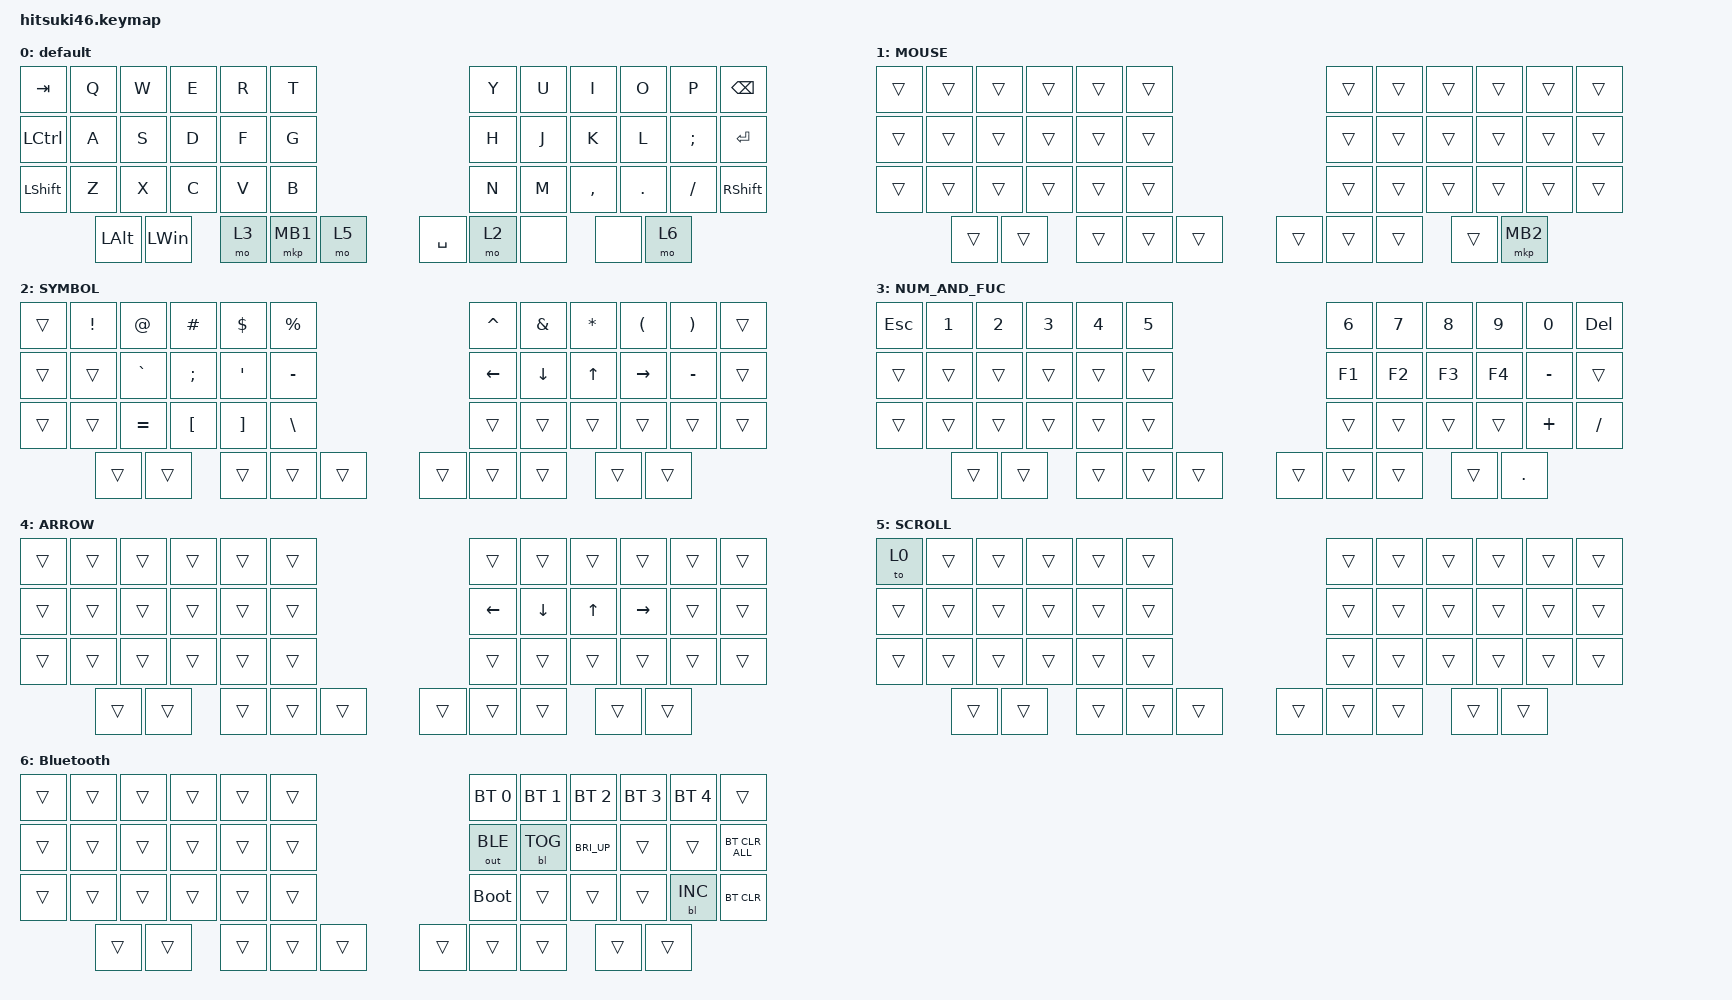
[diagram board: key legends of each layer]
#include <behaviors.dtsi>
#include <dt-bindings/zmk/backlight.h>
#include <dt-bindings/zmk/bt.h>
#include <dt-bindings/zmk/keys.h>
#include <dt-bindings/zmk/outputs.h>
#include <dt-bindings/zmk/pointing.h>

&mt {
    flavor = "balanced";
    quick-tap-ms = <0>;
};

&lt {
    flavor = "balanced";
    quick-tap-ms = <175>;
    require-prior-idle-ms = <150>;
};

// &trackball {
//     // Note: automouse-layer and scroll-layers are no longer supported in badjeff/zmk-pmw3610-driver
//     // These features should now be configured using layer-based zmk,input-listener in keymap
//     // automouse-layer = <1>;
//     // scroll-layers = <5>;
// };

/ {
    combos {
        compatible = "zmk,combos";

        tab {
            bindings = <&kp TAB>;
            key-positions = <11 12>;
        };

        shift_tab {
            bindings = <&kp LS(TAB)>;
            key-positions = <12 13>;
        };

        muhennkann {
            bindings = <&to_layer_0 INT_MUHENKAN>;
            key-positions = <11 10>;
        };

        double_quotation {
            bindings = <&kp DOUBLE_QUOTES>;
            key-positions = <20 21>;
        };

        eq {
            bindings = <&kp EQUAL>;
            key-positions = <24 25>;
        };
    };

    macros {
        to_layer_0: to_layer_0 {
            compatible = "zmk,behavior-macro-one-param";
            #binding-cells = <1>;
            bindings = <&to 0 &macro_param_1to1 &kp MACRO_PLACEHOLDER>;
            label = "TO_LAYER_0";
        };
    };

    behaviors {
        lt_to_layer_0: lt_to_layer_0 {
            compatible = "zmk,behavior-hold-tap";
            label = "LAYER_TAP_TO_0";
            bindings = <&mo>, <&to_layer_0>;

            #binding-cells = <2>;
            tapping-term-ms = <200>;
        };
    };

    keymap {
        compatible = "zmk,keymap";

        default {
            bindings = <
&kp TAB         &kp Q         &kp W         &kp E  &kp R     &kp T  &kp Y      &kp U  &kp I      &kp O       &kp P      &kp BACKSPACE
&kp LCTRL       &kp A         &kp S         &kp D  &kp F     &kp G  &kp H      &kp J  &kp K      &kp L       &kp SEMI   &kp ENTER
&kp LEFT_SHIFT  &kp Z         &kp X         &kp C  &kp V     &kp B  &kp N      &kp M  &kp COMMA  &kp PERIOD  &kp SLASH  &kp RSHFT
                &kp LEFT_ALT  &kp LEFT_WIN  &mo 3  &mkp MB1  &mo 5  &kp SPACE  &mo 2  &none      &none       &mo 6
            >;
        };

        MOUSE {
            bindings = <
&trans  &trans  &trans  &trans  &trans  &trans  &trans  &trans  &trans  &trans  &trans    &trans
&trans  &trans  &trans  &trans  &trans  &trans  &trans  &trans  &trans  &trans  &trans    &trans
&trans  &trans  &trans  &trans  &trans  &trans  &trans  &trans  &trans  &trans  &trans    &trans
        &trans  &trans  &trans  &trans  &trans  &trans  &trans  &trans  &trans  &mkp MB2
            >;
        };

        SYMBOL {
            bindings = <
&trans  &kp EXCLAMATION  &kp AT_SIGN  &kp HASH          &kp DOLLAR         &kp PERCENT    &kp CARET  &kp AMPERSAND   &kp ASTERISK  &kp LEFT_PARENTHESIS  &kp RIGHT_PARENTHESIS  &trans
&trans  &trans           &kp GRAVE    &kp SEMICOLON     &kp SQT            &kp MINUS      &kp LEFT   &kp DOWN_ARROW  &kp UP_ARROW  &kp RIGHT             &kp MINUS              &trans
&trans  &trans           &kp EQUAL    &kp LEFT_BRACKET  &kp RIGHT_BRACKET  &kp BACKSLASH  &trans     &trans          &trans        &trans                &trans                 &trans
        &trans           &trans       &trans            &trans             &trans         &trans     &trans          &trans        &trans                &trans
            >;
        };

        NUM_AND_FUC {
            bindings = <
&kp ESC  &kp N1  &kp N2  &kp N3  &kp N4  &kp N5  &kp N6  &kp N7  &kp N8  &kp N9  &kp N0      &kp DEL
&trans   &trans  &trans  &trans  &trans  &trans  &kp F1  &kp F2  &kp F3  &kp F4  &kp MINUS   &trans
&trans   &trans  &trans  &trans  &trans  &trans  &trans  &trans  &trans  &trans  &kp PLUS    &kp SLASH
         &trans  &trans  &trans  &trans  &trans  &trans  &trans  &trans  &trans  &kp PERIOD
            >;
        };

        ARROW {
            bindings = <
&trans  &trans  &trans  &trans  &trans  &trans  &trans    &trans          &trans        &trans     &trans  &trans
&trans  &trans  &trans  &trans  &trans  &trans  &kp LEFT  &kp DOWN_ARROW  &kp UP_ARROW  &kp RIGHT  &trans  &trans
&trans  &trans  &trans  &trans  &trans  &trans  &trans    &trans          &trans        &trans     &trans  &trans
        &trans  &trans  &trans  &trans  &trans  &trans    &trans          &trans        &trans     &trans
            >;
        };

        // 全キーが &trans だとこのレイヤーにラッチした際の脱出手段が無くなるため、
        // 左上に &to 0 を置いています。
        SCROLL {
            bindings = <
&to 0   &trans  &trans  &trans  &trans  &trans  &trans  &trans  &trans  &trans  &trans  &trans
&trans  &trans  &trans  &trans  &trans  &trans  &trans  &trans  &trans  &trans  &trans  &trans
&trans  &trans  &trans  &trans  &trans  &trans  &trans  &trans  &trans  &trans  &trans  &trans
        &trans  &trans  &trans  &trans  &trans  &trans  &trans  &trans  &trans  &trans
            >;
        };

        Bluetooth {
            bindings = <
&trans  &trans  &trans  &trans  &trans  &trans  &bt BT_SEL 0  &bt BT_SEL 1  &bt BT_SEL 2  &bt BT_SEL 3  &bt BT_SEL 4  &trans
&trans  &trans  &trans  &trans  &trans  &trans  &out OUT_BLE  &bl BL_TOG    &kp C_BRI_UP  &trans        &trans        &bt BT_CLR_ALL
&trans  &trans  &trans  &trans  &trans  &trans  &bootloader   &trans        &trans        &trans        &bl BL_INC    &bt BT_CLR
        &trans  &trans  &trans  &trans  &trans  &trans        &trans        &trans        &trans        &trans
            >;
        };
    };
};
